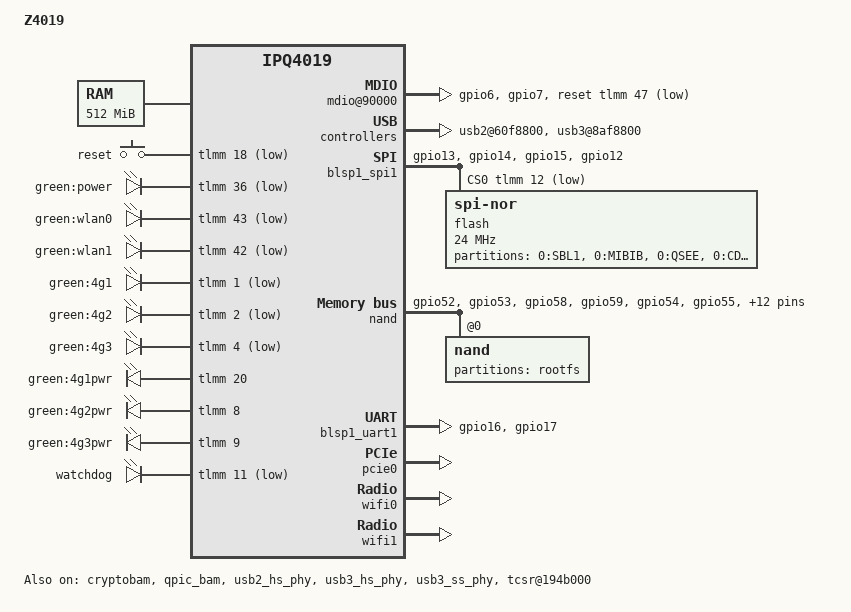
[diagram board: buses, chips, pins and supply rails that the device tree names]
/* Copyright (c) 2015, The Linux Foundation. All rights reserved.
 *
 * Permission to use, copy, modify, and/or distribute this software for any
 * purpose with or without fee is hereby granted, provided that the above
 * copyright notice and this permission notice appear in all copies.
 *
 * THE SOFTWARE IS PROVIDED "AS IS" AND THE AUTHOR DISCLAIMS ALL WARRANTIES
 * WITH REGARD TO THIS SOFTWARE INCLUDING ALL IMPLIED WARRANTIES OF
 * MERCHANTABILITY AND FITNESS. IN NO EVENT SHALL THE AUTHOR BE LIABLE FOR
 * ANY SPECIAL, DIRECT, INDIRECT, OR CONSEQUENTIAL DAMAGES OR ANY DAMAGES
 * WHATSOEVER RESULTING FROM LOSS OF USE, DATA OR PROFITS, WHETHER IN AN
 * ACTION OF CONTRACT, NEGLIGENCE OR OTHER TORTIOUS ACTION, ARISING OUT OF
 * OR IN CONNECTION WITH THE USE OR PERFORMANCE OF THIS SOFTWARE.
 *
 */
#include "qcom-ipq4019.dtsi"
#include <dt-bindings/gpio/gpio.h>
#include <dt-bindings/input/input.h>
#include <dt-bindings/soc/qcom,tcsr.h>

/ {
	model = "Z4019";
	compatible = "zbt,z4019";

	aliases {
		led-boot = &power;
		led-failsafe = &power;
		led-running = &power;
		led-upgrade = &power;
		serial0 = &blsp1_uart1;
		
	};

	chosen {
		bootargs-append = " root=/dev/ubiblock0_1 rootfstype=squashfs";
		linux,stdout-path = "serial0:115200n8";
	};

	memory {
		device_type = "memory";
		reg = <0x80000000 0x20000000>;
	};

	soc {
		rng@22000 {
			status = "okay";
		};

		mdio@90000 {
			status = "okay";
			pinctrl-0 = <&mdio_pins>;
			pinctrl-names = "default";
			reset-gpios = <&tlmm 47 GPIO_ACTIVE_LOW>;
			reset-delay-us = <1000>;
		};

		ess-psgmii@98000 {
			status = "okay";
		};

		tcsr@1949000 {
			compatible = "qcom,tcsr";
			reg = <0x1949000 0x100>;
			qcom,wifi_glb_cfg = <TCSR_WIFI_GLB_CFG>;
		};

		tcsr@194b000 {
			/* select hostmode */
			compatible = "qcom,tcsr";
			reg = <0x194b000 0x100>;
			qcom,usb-hsphy-mode-select = <TCSR_USB_HSPHY_HOST_MODE>;
			status = "okay";
		};

		ess_tcsr@1953000 {
			compatible = "qcom,tcsr";
			reg = <0x1953000 0x1000>;
			qcom,ess-interface-select = <TCSR_ESS_PSGMII>;
		};

		tcsr@1957000 {
			compatible = "qcom,tcsr";
			reg = <0x1957000 0x100>;
			qcom,wifi_noc_memtype_m0_m2 = <TCSR_WIFI_NOC_MEMTYPE_M0_M2>;
		};

		usb2@60f8800 {
			status = "okay";
		};

		usb3@8af8800 {
			status = "okay";
		};

		crypto@8e3a000 {
			status = "okay";
		};

		watchdog@b017000 {
			status = "okay";
		};

		ess-switch@c000000 {
			status = "okay";
		};

		edma@c080000 {
			status = "okay";
		};
	};

	keys {
		compatible = "gpio-keys";

		reset {
			label = "reset";
			gpios = <&tlmm 18 GPIO_ACTIVE_LOW>;
			linux,code = <KEY_RESTART>;
		};
	};

	leds {
		compatible = "gpio-leds";
		pinctrl-0 = <&led_pins>;
		pinctrl-names = "default";
		
		power: power {
			label = "green:power";
			gpios = <&tlmm 36 GPIO_ACTIVE_LOW>;
		};

		wifi0 {
			label = "green:wlan0";
			gpios = <&tlmm 43 GPIO_ACTIVE_LOW>;
		};

		wifi1 {
			label = "green:wlan1";
			gpios = <&tlmm 42 GPIO_ACTIVE_LOW>;
		};

		4g1 {
			label = "green:4g1";
			gpios = <&tlmm 1 GPIO_ACTIVE_LOW>;
		};

		4g2 {
			label = "green:4g2";
			gpios = <&tlmm 2 GPIO_ACTIVE_LOW>;
		};

		4g3 {
			label = "green:4g3";
			gpios = <&tlmm 4 GPIO_ACTIVE_LOW>;
		};

		4g1pwr {
			label = "green:4g1pwr";
			gpios = <&tlmm 20 GPIO_ACTIVE_HIGH>;
		};

		4g2pwr {
			label = "green:4g2pwr";
			gpios = <&tlmm 8 GPIO_ACTIVE_HIGH>;
		};

		4g3pwr {
			label = "green:4g3pwr";
			gpios = <&tlmm 9 GPIO_ACTIVE_HIGH>;
		};

		watchdog {
		compatible = "linux,wdt-gpio";
		gpios = <&tlmm 11 GPIO_ACTIVE_LOW>;
		hw_algo = "toggle";
		hw_margin_ms = <6000>;
		always-running;
		};
	};
};

&blsp_dma {
	status = "okay";
};

&cryptobam {
	status = "okay";
};

&blsp1_spi1 {
	pinctrl-0 = <&spi_0_pins>;
	pinctrl-names = "default";
	status = "okay";
	cs-gpios = <&tlmm 12 GPIO_ACTIVE_LOW>;

	flash@0 {
		compatible = "jedec,spi-nor";
		reg = <0>;
		spi-max-frequency = <24000000>;

		partitions {
			compatible = "fixed-partitions";
			#address-cells = <1>;
			#size-cells = <1>;

			partition@0 {
				label = "0:SBL1";
				reg = <0x0 0x40000>;
				read-only;
			};
			partition@40000 {
				label = "0:MIBIB";
				reg = <0x40000 0x20000>;
			};
			partition@60000 {
				label = "0:QSEE";
				reg = <0x60000 0x60000>;
				read-only;
			};
			partition@c0000 {
				label = "0:CDT";
				reg = <0xc0000 0x10000>;
				read-only;
			};
			partition@d0000 {
				label = "0:DDRPARAMS";
				reg = <0xd0000 0x10000>;
				read-only;
			};

			partition@e0000 {
				label = "0:APPSBLENV";
				reg = <0xe0000 0x10000>;
				read-only;
			};

			partition@f0000 {
				label = "0:APPSBL";
				reg = <0xf0000 0x80000>;
			};

			partition@170000 {
				label = "0:ART";
				reg = <0x170000 0x10000>;
			};
		};
	};
};

&qpic_bam {
	status = "okay";
};

&nand {
	pinctrl-0 = <&nand_pins>;
	pinctrl-names = "default";
	status = "okay";

	nand@0 {
		partitions {
			compatible = "fixed-partitions";
			#address-cells = <1>;
			#size-cells = <1>;

			partition@b80000 {
				label = "rootfs";
				reg = <0x0 0x8000000>;
			};
		};
	};
};

&blsp1_uart1 {
	pinctrl-0 = <&serial_0_pins>;
	pinctrl-names = "default";
	status = "okay";
};

&tlmm {
	mdio_pins: mdio_pinmux {
		mux_1 {
			pins = "gpio6";
			function = "mdio";
			bias-pull-up;
		};
		mux_2 {
			pins = "gpio7";
			function = "mdc";
			bias-pull-up;
		};
	};

	serial_0_pins: serial0-pinmux {
		mux {
			pins = "gpio16", "gpio17";
			function = "blsp_uart0";
			bias-disable;
		};
	};

	led_pins: led_pins {
		wifi1 {
			pins = "gpio42";
			function = "gpio";
			drive-strength = <8>;
			bias-pull-up;
		};

		wifi2 {
			pins = "gpio43";
			function = "gpio";
			drive-strength = <8>;
			bias-pull-up;
		};

		4g1 {
			pins = "gpio1";
			function = "gpio";
			drive-strength = <8>;
			bias-pull-up;
		};

		4g2 {
			pins = "gpio2";
			function = "gpio";
			drive-strength = <8>;
			bias-pull-up;
		};

		4g3 {
			pins = "gpio4";
			function = "gpio";
			drive-strength = <8>;
			bias-pull-up;
		};


		power_4g1 {
			pins = "gpio20";
			function = "gpio";
			drive-strength = <8>;
			bias-pull-up;
			output-high;
		};

		power_4g2 {
			pins = "gpio8";
			function = "gpio";
			drive-strength = <8>;
			bias-pull-up;
			output-high;
		};

		power_4g3 {
			pins = "gpio9";
			function = "gpio";
			drive-strength = <8>;
			bias-pull-up;
			output-high;
		};
	};

	spi_0_pins: spi_0_pinmux {
		pinmux {
			function = "blsp_spi0";
			pins = "gpio13", "gpio14", "gpio15";
			drive-strength = <12>;
			bias-disable;
		};

		pinmux_cs {
			function = "gpio";
			pins = "gpio12";
			drive-strength = <2>;
			bias-disable;
			output-high;
		};
	};

	nand_pins: nand_pins {
		pullups {
			pins =	"gpio52", "gpio53", "gpio58",
				"gpio59";
			function = "qpic";
			bias-pull-up;
		};

		pulldowns {
			pins =	"gpio54", "gpio55", "gpio56",
				"gpio57", "gpio60", "gpio61",
				"gpio62", "gpio63", "gpio64",
				"gpio65", "gpio66", "gpio67",
				"gpio68", "gpio69";
			function = "qpic";
			bias-pull-down;
		};
	};
};

&usb2_hs_phy {
	status = "okay";
};

&usb3_hs_phy {
	status = "okay";
};

&usb3_ss_phy {
	status = "okay";
};

&pcie0 {
	status = "okay";
	perst-gpio = <&tlmm 38 GPIO_ACTIVE_LOW>;
	wake-gpio = <&tlmm 50 GPIO_ACTIVE_LOW>;
};

&wifi0 {
	status = "okay";
	qcom,ath10k-calibration-variant = "ZBT-Z4019";
};

&wifi1 {
	status = "okay";
	qcom,ath10k-calibration-variant = "ZBT-Z4019";
};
